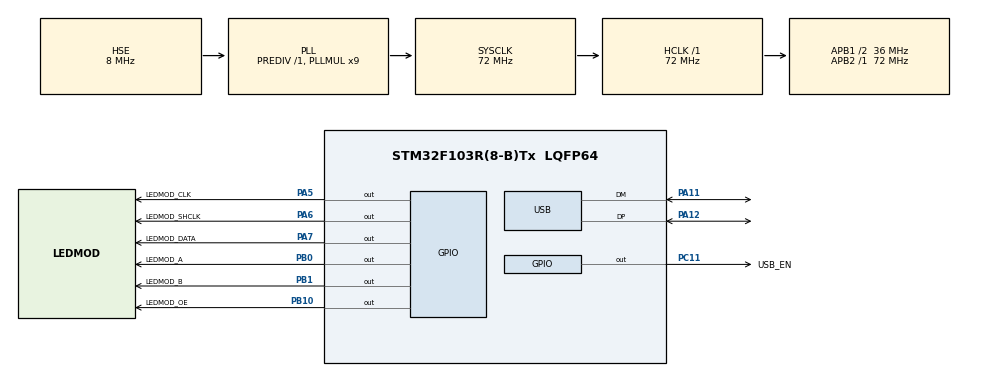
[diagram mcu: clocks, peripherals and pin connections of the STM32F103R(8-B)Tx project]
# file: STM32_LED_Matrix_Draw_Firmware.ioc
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Mcu.Family=STM32F1
Mcu.Name=STM32F103R(8-B)Tx
Mcu.Package=LQFP64
NVIC.PriorityGroup=NVIC_PRIORITYGROUP_4
NVIC.USB_LP_CAN1_RX0_IRQn=true\:0\:0\:false\:false\:true
PA11.Mode=Device
PA11.Signal=USB_DM
PA12.Mode=Device
PA12.Signal=USB_DP
PA13.Mode=Serial_Wire
PA13.Signal=SYS_JTMS-SWDIO
PA14.Mode=Serial_Wire
PA14.Signal=SYS_JTCK-SWCLK
PA5.GPIO_Label=LEDMOD_CLK
PA5.GPIO_Speed=GPIO_SPEED_FREQ_HIGH
PA5.Signal=GPIO_Output
PA6.GPIO_Label=LEDMOD_SHCLK
PA6.GPIO_Speed=GPIO_SPEED_FREQ_HIGH
PA6.Signal=GPIO_Output
PA7.GPIO_Label=LEDMOD_DATA
PA7.GPIO_Speed=GPIO_SPEED_FREQ_HIGH
PA7.Signal=GPIO_Output
PB0.GPIO_Label=LEDMOD_A
PB0.GPIO_Speed=GPIO_SPEED_FREQ_HIGH
PB0.Signal=GPIO_Output
PB1.GPIO_Label=LEDMOD_B
PB1.GPIO_Speed=GPIO_SPEED_FREQ_HIGH
PB1.Signal=GPIO_Output
PB10.GPIO_Label=LEDMOD_OE
PB10.GPIO_Speed=GPIO_SPEED_FREQ_HIGH
PB10.Signal=GPIO_Output
PC11.GPIO_Label=USB_EN
PC11.Signal=GPIO_Output
PD0-OSC_IN.Mode=HSE-External-Oscillator
PD0-OSC_IN.Signal=RCC_OSC_IN
PD1-OSC_OUT.Mode=HSE-External-Oscillator
PD1-OSC_OUT.Signal=RCC_OSC_OUT
ProjectManager.HeapSize=0x200
ProjectManager.StackSize=0x400
ProjectManager.TargetToolchain=Makefile
RCC.AHBFreq_Value=72000000
RCC.APB1CLKDivider=RCC_HCLK_DIV2
RCC.APB1Freq_Value=36000000
RCC.APB1TimFreq_Value=72000000
RCC.APB2Freq_Value=72000000
RCC.APB2TimFreq_Value=72000000
RCC.HCLKFreq_Value=72000000
RCC.PLLMUL=RCC_PLL_MUL9
RCC.PLLSourceVirtual=RCC_PLLSOURCE_HSE
RCC.SYSCLKFreq_VALUE=72000000
RCC.SYSCLKSource=RCC_SYSCLKSOURCE_PLLCLK
RCC.USBFreq_Value=48000000
RCC.USBPrescaler=RCC_USBCLKSOURCE_PLL_DIV1_5
USB.ep0_mps=DEP0CTL_MPS_64
USB_DEVICE.CLASS_NAME_FS=CDC
USB_DEVICE.MANUFACTURER_STRING-CDC_FS=RocketScientist.info
USB_DEVICE.PRODUCT_STRING_CDC_FS=P10 LED Matrix with STM32 USB
USB_DEVICE.USBD_CDC_INTERVAL-CDC_FS=1000
USB_DEVICE.VirtualMode=Cdc
USB_DEVICE.VirtualModeFS=Cdc_FS
VP_USB_DEVICE_VS_USB_DEVICE_CDC_FS.Mode=CDC_FS
board=STM32_LED_Matrix_Draw_Firmware

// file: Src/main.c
/**
  ******************************************************************************
  * File Name          : main.c
  * Description        : Main program body
  ******************************************************************************
  * This notice applies to any and all portions of this file
  * that are not between comment pairs USER CODE BEGIN and
  * USER CODE END. Other portions of this file, whether
  * inserted by the user or by software development tools
  * are owned by their respective copyright owners.
  *
  * Copyright (c) 2018 STMicroelectronics International N.V.
  * All rights reserved.
  *
  * Redistribution and use in source and binary forms, with or without
  * modification, are permitted, provided that the following conditions are met:
  *
  * 1. Redistribution of source code must retain the above copyright notice,
  *    this list of conditions and the following disclaimer.
  * 2. Redistributions in binary form must reproduce the above copyright notice,
  *    this list of conditions and the following disclaimer in the documentation
  *    and/or other materials provided with the distribution.
  * 3. Neither the name of STMicroelectronics nor the names of other
  *    contributors to this software may be used to endorse or promote products
  *    derived from this software without specific written permission.
  * 4. This software, including modifications and/or derivative works of this
  *    software, must execute solely and exclusively on microcontroller or
  *    microprocessor devices manufactured by or for STMicroelectronics.
  * 5. Redistribution and use of this software other than as permitted under
  *    this license is void and will automatically terminate your rights under
  *    this license.
  *
  * THIS SOFTWARE IS PROVIDED BY STMICROELECTRONICS AND CONTRIBUTORS "AS IS"
  * AND ANY EXPRESS, IMPLIED OR STATUTORY WARRANTIES, INCLUDING, BUT NOT
  * LIMITED TO, THE IMPLIED WARRANTIES OF MERCHANTABILITY, FITNESS FOR A
  * PARTICULAR PURPOSE AND NON-INFRINGEMENT OF THIRD PARTY INTELLECTUAL PROPERTY
  * RIGHTS ARE DISCLAIMED TO THE FULLEST EXTENT PERMITTED BY LAW. IN NO EVENT
  * SHALL STMICROELECTRONICS OR CONTRIBUTORS BE LIABLE FOR ANY DIRECT, INDIRECT,
  * INCIDENTAL, SPECIAL, EXEMPLARY, OR CONSEQUENTIAL DAMAGES (INCLUDING, BUT NOT
  * LIMITED TO, PROCUREMENT OF SUBSTITUTE GOODS OR SERVICES; LOSS OF USE, DATA,
  * OR PROFITS; OR BUSINESS INTERRUPTION) HOWEVER CAUSED AND ON ANY THEORY OF
  * LIABILITY, WHETHER IN CONTRACT, STRICT LIABILITY, OR TORT (INCLUDING
  * NEGLIGENCE OR OTHERWISE) ARISING IN ANY WAY OUT OF THE USE OF THIS SOFTWARE,
  * EVEN IF ADVISED OF THE POSSIBILITY OF SUCH DAMAGE.
  *
  ******************************************************************************
  */
#include "main.h"
#include "stm32f1xx_hal.h"
#include "usb_device.h"
#include "gpio.h"

/* USER CODE BEGIN PV */
/* Private variables ---------------------------------------------------------*/

/* USER CODE END PV */

void SystemClock_Config(void);

/* USER CODE BEGIN PFP */
/* Private function prototypes -----------------------------------------------*/

/* USER CODE END PFP */

/* USER CODE BEGIN 0 */
//LEDMOD
uint8_t ledmod_image[64] = {
	0b11111111, 0b11111111, 0b11111111, 0b11111111,
	0b11111111, 0b11111111, 0b11111111, 0b11111111,
	0b11111111, 0b11111111, 0b11111111, 0b11111111,
	0b11111111, 0b11111111, 0b11111111, 0b11111111,
	0b11111111, 0b11111111, 0b11111111, 0b11111111,
	0b11111111, 0b11111111, 0b11111111, 0b11111111,
	0b11111111, 0b11111111, 0b11111111, 0b11111111,
	0b11111111, 0b11111111, 0b11111111, 0b11111111,
	0b11111111, 0b11111111, 0b11111111, 0b11111111,
	0b11111111, 0b11111111, 0b11111111, 0b11111111,
	0b11111111, 0b11111111, 0b11111111, 0b11111111,
	0b11111111, 0b11111111, 0b11111111, 0b11111111,
	0b11111111, 0b11111111, 0b11111111, 0b11111111,
	0b11111111, 0b11111111, 0b11111111, 0b11111111,
	0b11111111, 0b11111111, 0b11111111, 0b11111111,
	0b11111111, 0b11111111, 0b11111111, 0b11111111
};
uint8_t ledmod_framebuffer[64] = {
	0b11111111, 0b11111111, 0b11111111, 0b11111111,
	0b11111111, 0b11111111, 0b11111111, 0b11111111,
	0b11111111, 0b11111111, 0b11111111, 0b11111111,
	0b11111111, 0b11111111, 0b11111111, 0b11111111,

	0b11111111, 0b11111111, 0b11111111, 0b11111111,
	0b11111111, 0b11111111, 0b11111111, 0b11111111,
	0b11111111, 0b11111111, 0b11111111, 0b11111111,
	0b11111111, 0b11111111, 0b11111111, 0b11111111,

	0b11111111, 0b11111111, 0b11111111, 0b11111111,
	0b11111111, 0b11111111, 0b11111111, 0b11111111,
	0b11111111, 0b11111111, 0b11111111, 0b11111111,
	0b11111111, 0b11111111, 0b11111111, 0b11111111,

	0b11111111, 0b11111111, 0b11111111, 0b11111111,
	0b11111111, 0b11111111, 0b11111111, 0b11111111,
	0b11111111, 0b11111111, 0b11111111, 0b11111111,
	0b11111111, 0b11111111, 0b11111111, 0b11111111
};
void LEDMOD_onoff(int mode){
	if(mode == 1){
		HAL_GPIO_WritePin(GPIOB, LEDMOD_OE_Pin, GPIO_PIN_SET);//Rows ON
	}
	else{
		HAL_GPIO_WritePin(GPIOB, LEDMOD_OE_Pin, GPIO_PIN_RESET);//Rows OFF
	}
}
void LEDMOD_shift_byte(int data){
	int i = 0;
	while (i!=8){
		HAL_GPIO_WritePin(GPIOA, LEDMOD_DATA_Pin, ((data >> (7-i)) & 1));
		HAL_GPIO_WritePin(GPIOA, LEDMOD_CLK_Pin, GPIO_PIN_SET);
		HAL_GPIO_WritePin(GPIOA, LEDMOD_CLK_Pin, GPIO_PIN_RESET);
		i++;
	}
}
void LEDMOD_shift_rows(int address){
	int i = 0;
	while(i != 16){
		LEDMOD_shift_byte(ledmod_framebuffer[address]);
		address++;
		i++;
	}
	HAL_GPIO_WritePin(GPIOA, LEDMOD_SHCLK_Pin, GPIO_PIN_SET);
	HAL_GPIO_WritePin(GPIOA, LEDMOD_SHCLK_Pin, GPIO_PIN_RESET);
}
void LEDMOD_switch_lines(int num){
	if(num == 1){
		HAL_GPIO_WritePin(GPIOB, LEDMOD_B_Pin, GPIO_PIN_RESET);
		HAL_GPIO_WritePin(GPIOB, LEDMOD_A_Pin, GPIO_PIN_RESET);
	}
	else if(num == 2){
		HAL_GPIO_WritePin(GPIOB, LEDMOD_B_Pin, GPIO_PIN_RESET);
		HAL_GPIO_WritePin(GPIOB, LEDMOD_A_Pin, GPIO_PIN_SET);
	}
	else if(num == 3){
		HAL_GPIO_WritePin(GPIOB, LEDMOD_B_Pin, GPIO_PIN_SET);
		HAL_GPIO_WritePin(GPIOB, LEDMOD_A_Pin, GPIO_PIN_RESET);
	}
	else if(num == 4){
		HAL_GPIO_WritePin(GPIOB, LEDMOD_B_Pin, GPIO_PIN_SET);
		HAL_GPIO_WritePin(GPIOB, LEDMOD_A_Pin, GPIO_PIN_SET);
	}
}
void LEDMOD_delay(){
	uint32_t p = 0xFF;
	uint32_t s = 0;
	while(s != p){
		__asm volatile("nop");
		s++;
	}
}
void LEDMOD_redraw(){
	LEDMOD_onoff(0);
	LEDMOD_shift_rows(0);
	LEDMOD_switch_lines(1);
	LEDMOD_onoff(1);
	LEDMOD_delay();

	LEDMOD_onoff(0);
	LEDMOD_shift_rows(16);
	LEDMOD_switch_lines(2);
	LEDMOD_onoff(1);
	LEDMOD_delay();

	LEDMOD_onoff(0);
	LEDMOD_shift_rows(32);
	LEDMOD_switch_lines(3);
	LEDMOD_onoff(1);
	LEDMOD_delay();

	LEDMOD_onoff(0);
	LEDMOD_shift_rows(48);
	LEDMOD_switch_lines(4);
	LEDMOD_onoff(1);
	LEDMOD_delay();
}
void LEDMOD_redraw_framebuffer(){
	int i = 0;
	int index = 3;
	while(i != 4){
		ledmod_framebuffer[index] = ledmod_image[i];
		index += 4;
		i++;
	}
	i = 0;
	index = 19;
	while(i != 4){
		ledmod_framebuffer[index] = ledmod_image[i+4];
		index += 4;
		i++;
	}
	i = 0;
	index = 35;
	while(i != 4){
		ledmod_framebuffer[index] = ledmod_image[i+8];
		index += 4;
		i++;
	}
	i = 0;
	index = 51;
	while(i != 4){
		ledmod_framebuffer[index] = ledmod_image[i+12];
		index += 4;
		i++;
	}

/////////////////

	i = 0;
	index = 2;
	while(i != 4){
		ledmod_framebuffer[index] = ledmod_image[i+16];
		index += 4;
		i++;
	}
	i = 0;
	index = 18;
	while(i != 4){
		ledmod_framebuffer[index] = ledmod_image[i+16+4];
		index += 4;
		i++;
	}
	i = 0;
	index = 34;
	while(i != 4){
		ledmod_framebuffer[index] = ledmod_image[i+16+8];
		index += 4;
		i++;
	}
	i = 0;
	index = 50;
	while(i != 4){
		ledmod_framebuffer[index] = ledmod_image[i+16+12];
		index += 4;
		i++;
	}

/////////////////

	i = 0;
	index = 1;
	while(i != 4){
		ledmod_framebuffer[index] = ledmod_image[i+16+16];
		index += 4;
		i++;
	}
	i = 0;
	index = 17;
	while(i != 4){
		ledmod_framebuffer[index] = ledmod_image[i+16+16+4];
		index += 4;
		i++;
	}
	i = 0;
	index = 33;
	while(i != 4){
		ledmod_framebuffer[index] = ledmod_image[i+16+16+8];
		index += 4;
		i++;
	}
	i = 0;
	index = 49;
	while(i != 4){
		ledmod_framebuffer[index] = ledmod_image[i+16+16+12];
		index += 4;
		i++;
	}

/////////////////

	i = 0;
	index = 0;
	while(i != 4){
		ledmod_framebuffer[index] = ledmod_image[i+16+16+16];
		index += 4;
		i++;
	}
	i = 0;
	index = 16;
	while(i != 4){
		ledmod_framebuffer[index] = ledmod_image[i+16+16+16+4];
		index += 4;
		i++;
	}
	i = 0;
	index = 32;
	while(i != 4){
		ledmod_framebuffer[index] = ledmod_image[i+16+16+16+8];
		index += 4;
		i++;
	}
	i = 0;
	index = 48;
	while(i != 4){
		ledmod_framebuffer[index] = ledmod_image[i+16+16+16+12];
		index += 4;
		i++;
	}
}

//USB
//#1-FFFFFFFFFFFFFFFFFFFFFFFFFFFFFFFF
//#2-FFFFFFFFFFFFFFFFFFFFFFFFFFFFFFFF
//#3-FFFFFFFFFFFFFFFFFFFFFFFFFFFFFFFF
//#4-FFFFFFFFFFFFFFFFFFFFFFFFFFFFFFFF
//#S
uint8_t usb_receive_buffer[2048];
uint8_t usb_transmit_command_1[4]= "SET\n";
uint8_t usb_transmit_command_2[7]= "READY\n";
char tmp[3] = "FF";
void USB_copy_buffer_to_ledmod_image(int addr){
	int i = 0;
	while(i!= 32){
		tmp[0] = usb_receive_buffer[i+3];
		tmp[1] = usb_receive_buffer[i+4];
		ledmod_image[(i/2)+addr] = (uint8_t)strtol(tmp, NULL, 16);
		i++;
		i++;
	}
}
void USB_parse(){
	if(usb_receive_buffer[0] == '#'){
		uint8_t ledmod_img_buff_addr = 0;
		if(usb_receive_buffer[1] == '1'){
			ledmod_img_buff_addr = 0;
			USB_copy_buffer_to_ledmod_image(ledmod_img_buff_addr);
			CDC_Transmit_FS(usb_transmit_command_1,4);
		}
		else if(usb_receive_buffer[1] == '2'){
			ledmod_img_buff_addr = 16;
			USB_copy_buffer_to_ledmod_image(ledmod_img_buff_addr);
			CDC_Transmit_FS(usb_transmit_command_1,4);
		}
		else if(usb_receive_buffer[1] == '3'){
			ledmod_img_buff_addr = 32;
			USB_copy_buffer_to_ledmod_image(ledmod_img_buff_addr);
			CDC_Transmit_FS(usb_transmit_command_1,4);
		}
		else if(usb_receive_buffer[1] == '4'){
			ledmod_img_buff_addr = 48;
			USB_copy_buffer_to_ledmod_image(ledmod_img_buff_addr);
			LEDMOD_redraw_framebuffer();
			CDC_Transmit_FS(usb_transmit_command_1,4);
		}
		else if(usb_receive_buffer[1] == 'S'){
			CDC_Transmit_FS(usb_transmit_command_2,6);
		}
	}
}
void USB_enable(int mode){
	if(mode == 1){
		HAL_GPIO_WritePin(GPIOC, USB_EN_Pin, GPIO_PIN_RESET);
	}
	else{
		HAL_GPIO_WritePin(GPIOC, USB_EN_Pin, GPIO_PIN_SET);
	}
}
/* USER CODE END 0 */

int main(void)
{

  /* MCU Configuration----------------------------------------------------------*/

  /* Reset of all peripherals, Initializes the Flash interface and the Systick. */
  HAL_Init();

  /* Configure the system clock */
  SystemClock_Config();

  /* Initialize all configured peripherals */
  MX_GPIO_Init();
  MX_USB_DEVICE_Init();

  /* USER CODE BEGIN 2 */
  USB_enable(1);
  /* USER CODE END 2 */

  /* Infinite loop */
  /* USER CODE BEGIN WHILE */
  while (1)
  {
	  LEDMOD_redraw();
  /* USER CODE END WHILE */

  }

}

/** System Clock Configuration
*/
void SystemClock_Config(void)
{

  RCC_OscInitTypeDef RCC_OscInitStruct;
  RCC_ClkInitTypeDef RCC_ClkInitStruct;
  RCC_PeriphCLKInitTypeDef PeriphClkInit;

    /**Initializes the CPU, AHB and APB busses clocks
    */
  RCC_OscInitStruct.OscillatorType = RCC_OSCILLATORTYPE_HSE;
  RCC_OscInitStruct.HSEState = RCC_HSE_ON;
  RCC_OscInitStruct.HSEPredivValue = RCC_HSE_PREDIV_DIV1;
  RCC_OscInitStruct.HSIState = RCC_HSI_ON;
  RCC_OscInitStruct.PLL.PLLState = RCC_PLL_ON;
  RCC_OscInitStruct.PLL.PLLSource = RCC_PLLSOURCE_HSE;
  RCC_OscInitStruct.PLL.PLLMUL = RCC_PLL_MUL9;
  if (HAL_RCC_OscConfig(&RCC_OscInitStruct) != HAL_OK)
  {
    _Error_Handler(__FILE__, __LINE__);
  }

    /**Initializes the CPU, AHB and APB busses clocks
    */
  RCC_ClkInitStruct.ClockType = RCC_CLOCKTYPE_HCLK|RCC_CLOCKTYPE_SYSCLK
                              |RCC_CLOCKTYPE_PCLK1|RCC_CLOCKTYPE_PCLK2;
  RCC_ClkInitStruct.SYSCLKSource = RCC_SYSCLKSOURCE_PLLCLK;
  RCC_ClkInitStruct.AHBCLKDivider = RCC_SYSCLK_DIV1;
  RCC_ClkInitStruct.APB1CLKDivider = RCC_HCLK_DIV2;
  RCC_ClkInitStruct.APB2CLKDivider = RCC_HCLK_DIV1;

  if (HAL_RCC_ClockConfig(&RCC_ClkInitStruct, FLASH_LATENCY_2) != HAL_OK)
  {
    _Error_Handler(__FILE__, __LINE__);
  }

  PeriphClkInit.PeriphClockSelection = RCC_PERIPHCLK_USB;
  PeriphClkInit.UsbClockSelection = RCC_USBCLKSOURCE_PLL_DIV1_5;
  if (HAL_RCCEx_PeriphCLKConfig(&PeriphClkInit) != HAL_OK)
  {
    _Error_Handler(__FILE__, __LINE__);
  }

    /**Configure the Systick interrupt time
    */
  HAL_SYSTICK_Config(HAL_RCC_GetHCLKFreq()/1000);

    /**Configure the Systick
    */
  HAL_SYSTICK_CLKSourceConfig(SYSTICK_CLKSOURCE_HCLK);

  /* SysTick_IRQn interrupt configuration */
  HAL_NVIC_SetPriority(SysTick_IRQn, 0, 0);
}

void _Error_Handler(char * file, int line)
{
  while(1)
  {
  }
}

/************************ (C) COPYRIGHT STMicroelectronics *****END OF FILE****/
